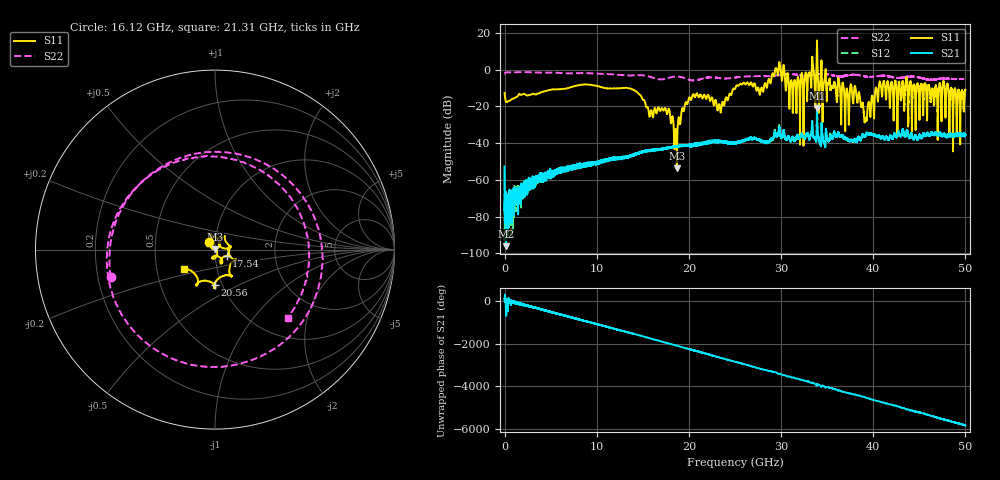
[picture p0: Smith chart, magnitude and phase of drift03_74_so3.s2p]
!Created with skrf (http://scikit-rf.org).
# Hz S RI R 50.0
!freq ReS11 ImS11 ReS21 ImS21 ReS12 ImS12 ReS22 ImS22
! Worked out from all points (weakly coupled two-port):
!   10001 points, 300 kHz to 50 GHz, reference 50 ohm
!   highest |S21| = -20.95 dB at 33.9 GHz (marker M1); lowest = -96.1 dB at 155.3 MHz (marker M2)
!   lowest |S11| = -53.7 dB at 18.69 GHz (marker M3), VSWR 1.00, Z = 49.9 + j0.185 ohm
!   |S11| at or under -10 dB: start of sweep to 6.943 GHz; 13.31 GHz to 25.04 GHz (11.74 GHz wide, 61.2 % of centre); 38.07 GHz to 40.26 GHz (2.185 GHz wide, 5.58 % of centre) (the widest 3 of 51)
!   |S22| runs from -5.9 to -1.3 dB; largest |S21 - S12| = 0.0091
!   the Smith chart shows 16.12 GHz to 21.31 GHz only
!   S11 on the Smith chart (normalised r, x): 16.12 GHz: 0.93, +0.08; 17.54 GHz: 1.13, -0.08; 20.56 GHz: 0.92, -0.38; 21.31 GHz: 0.69, -0.16
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300000  -0.2095 -0.1015  -0.00199 0.00113  -0.00134 0.000727  -0.7634 -0.2026
1.552991e8  -0.1192 0.061  -8.98e-06 -1.28e-05  2.07e-05 0.000218  -0.8065 0.2505
1.535291e9  0.2047 0.0437  -0.000219 -0.000325  -5.82e-05 -0.000617  0.8487 0.0776
3.160281e9  -0.2186 -0.00831  0.000369 0.000621  0.00021 0.00108  -0.8441 -0.0255
4.665272e9  0.2637 0.0613  -2.66e-05 -0.00158  1.79e-06 -0.00129  0.819 0.1432
6.360262e9  -0.2999 3.74e-05  0.000645 0.00186  0.00056 0.00167  -0.8041 -0.0436
8.33525e9  0.2837 -0.2675  -0.00203 -0.000758  -0.00211 -0.000895  0.6026 -0.536
9.575243e9  -0.3718 -0.0482  0.0013 0.0024  0.00138 0.00243  -0.7859 -0.0968
1.124523e10  0.306 0.0228  -0.00207 -0.00275  -0.0023 -0.00262  0.7572 0.021
1.61152e10  -0.032 0.0408  0.00602 0.0022  0.00614 0.00218  -0.5804 -0.1528
1.66702e10  0.0534 0.0757  0.00462 -0.00495  0.00455 -0.00456  -0.3626 0.4169
1.753519e10  0.0644 -0.0351  -0.00622 -0.00385  -0.00617 -0.00378  0.4969 0.2829
1.869019e10  -0.000926 0.00185  0.00243 0.00786  0.00237 0.00785  -0.0824 -0.6482
2.056018e10  -0.0026 -0.1984  -0.00794 -0.00464  -0.00764 -0.00489  0.3609 0.3572
2.131017e10  -0.1725 -0.1094  -0.00511 0.00774  -0.00523 0.00796  0.4058 -0.3788
2.500015e10  -0.2968 -0.0483  0.00808 0.00667  0.00719 0.00691  -0.185 -0.5835
3.052012e10  0.2289 -0.1478  -0.00166 0.0129  -0.00167 0.0128  0.744 -0.0694
3.213011e10  0.2031 0.3753  -0.000621 -0.0145  -0.000612 -0.0152  -0.7068 0.0026
3.33351e10  0.4617 -1.007  -0.00433 0.0245  -0.00609 0.0247  0.6139 0.3677
3.38951e10  -0.699 -6.203  0.0893 0.00755  0.0802 0.00695  0.6821 -0.318
4.167005e10  -0.226 0.282  -0.0116 -0.00465  -0.0115 -0.005  -0.6471 -0.0613
5e10  -0.1405 -0.2466  -6.39e-05 -0.0173  0.000974 -0.0169  0.4719 -0.3121
